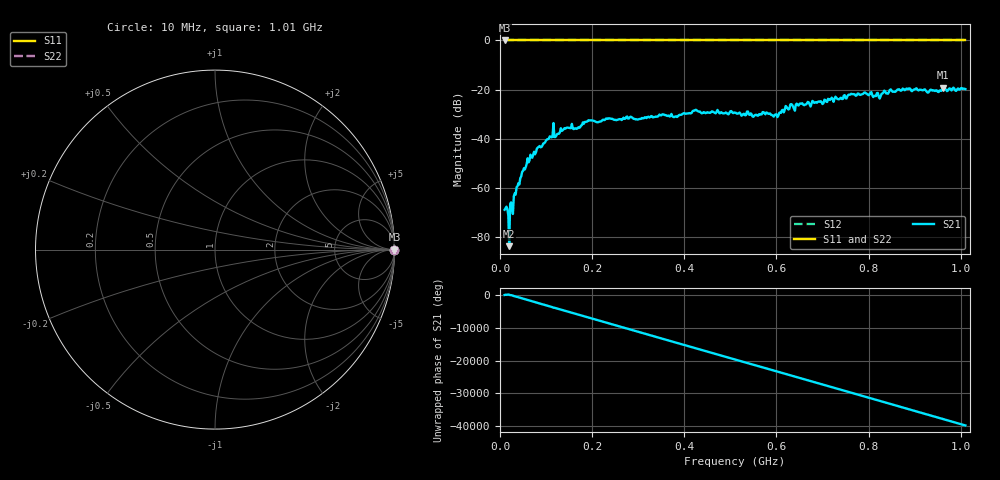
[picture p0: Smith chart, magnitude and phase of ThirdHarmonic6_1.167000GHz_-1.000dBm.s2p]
! 8/16/2025 11:46:33 AM
! C:\ANRITSUVNA\TEMP\TEMP.S2P
! CHANNEL.1
! TR.MEASUREMENT
! RAW.DATA
! RF.CORRECTION.OFF
! AVERAGING.OFF
! IF.BANDWIDTH: 5KHZ
! SWEEPTYPE:  FREQ.SWEEP(Linear)
! Reference Plane Port Info
! PORT:  PORT1  PORT2
! DISTANCE:  0  m  0  m
! TIME:  0  s  0  s
! PHASE.OFFSET:  0  deg.  0  deg.
! LOSS:  0  dB  0  dB
! REF.LOSS:  0  dB  0  dB
! REF.FREQ:  0  Hz  0  Hz
! Power Info
! POWER:  -20  dBm  -20  dBm
! EFF.POWER:  -20  dBm  -20  dBm
! SOURCE.ATTEN:  0  dB  0  dB
! TEST.ATTEN:  0  dB  0  dB
# GHZ S RI R 50.0
! FREQ.GHZ  S11RE  S11IM  S21RE  S21IM  S12RE  S12IM  S22RE  S22IM
!; PortSelection: Port_12
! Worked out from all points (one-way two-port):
!   501 points, 10 MHz to 1.01 GHz, reference 50 ohm
!   highest |S21| = -19.23 dB at 962 MHz (marker M1); lowest = -83.8 dB at 20 MHz (marker M2)
!   lowest |S11| = 0.0 dB at 10 MHz (marker M3)
!   |S11| at or under -10 dB: nowhere
!   |S22| runs from 0.0 to 0.0 dB; largest |S21 - S12| = 1.1
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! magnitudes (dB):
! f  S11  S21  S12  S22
! 10 MHz  0.0  -69.0  0.0  0.0
! 14 MHz  0.0  -67.7  0.0  0.0
! 16 MHz  0.0  -68.8  0.0  0.0
! 20 MHz  0.0  -83.8  0.0  0.0
! 24 MHz  0.0  -66.0  0.0  0.0
! 26 MHz  0.0  -68.1  0.0  0.0
! 34 MHz  0.0  -62.8  0.0  0.0
! 48 MHz  0.0  -53.6  0.0  0.0
! 82 MHz  0.0  -43.7  0.0  0.0
! 112 MHz  0.0  -39.4  0.0  0.0
! 178 MHz  0.0  -34.5  0.0  0.0
! 196 MHz  0.0  -32.6  0.0  0.0
! 344 MHz  0.0  -30.7  0.0  0.0
! 382 MHz  0.0  -31.0  0.0  0.0
! 424 MHz  0.0  -28.3  0.0  0.0
! 510 MHz  0.0  -29.4  0.0  0.0
! 598 MHz  0.0  -30.1  0.0  0.0
! 632 MHz  0.0  -26.0  0.0  0.0
! 678 MHz  0.0  -24.7  0.0  0.0
! 844 MHz  0.0  -21.1  0.0  0.0
! 962 MHz  0.0  -19.2  0.0  0.0
! 1.01 GHz  0.0  -19.8  0.0  0.0
